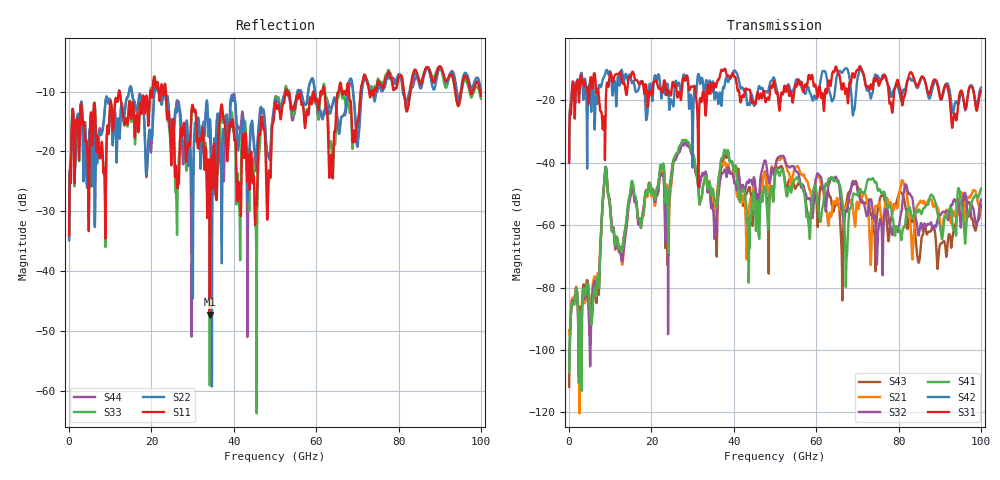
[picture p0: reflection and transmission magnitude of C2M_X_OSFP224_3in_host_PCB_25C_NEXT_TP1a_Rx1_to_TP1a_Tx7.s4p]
# GHz S RI R 45
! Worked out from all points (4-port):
!   4000 points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, 25 MHz to 100 GHz, reference 45 ohm
!   strongest paths, dB at 25 MHz, 25.02 GHz, 50.02 GHz, 75.03 GHz, 100 GHz:
!     S31: -39.8, -15.0, -15.5, -14.3, -17.0
!     S42: -40.1, -20.6, -13.9, -12.3, -15.9
!     S41: -107.1, -41.9, -43.8, -49.0, -48.3
!     S32: -103.6, -43.5, -42.5, -62.5, -51.8
!     S21: -93.7, -44.2, -41.7, -53.6, -55.1
!     S43: -111.9, -41.5, -44.0, -55.0, -53.5
!   lowest |S11| = -47.3 dB at 34.17 GHz (marker M1), VSWR 1.01, Z = 45.3 - j0.213 ohm
!   |S11| at or under -10 dB: start of sweep to 12.08 GHz; 23.52 GHz to 52.54 GHz (29.02 GHz wide, 76.3 % of centre); 52.86 GHz to 61.09 GHz (8.229 GHz wide, 14.4 % of centre)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
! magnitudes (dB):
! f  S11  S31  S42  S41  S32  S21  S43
! 25 MHz  -34.1  -39.8  -40.1  -107.1  -103.6  -93.7  -111.9
! 6.85 GHz  -17.8  -16.6  -21.1  -78.0  -78.9  -76.3  -80.2
! 8.85 GHz  -34.6  -24.7  -11.1  -41.9  -41.5  -41.8  -41.5
! 12.72 GHz  -12.3  -12.5  -10.2  -68.6  -70.8  -71.1  -68.1
! 27.82 GHz  -15.5  -12.7  -11.7  -32.8  -34.5  -33.8  -33.6
! 34.17 GHz  -47.3  -17.7  -13.7  -46.5  -47.8  -46.2  -48.2
! 100 GHz  -10.7  -17.0  -15.9  -48.3  -51.8  -55.1  -53.5
